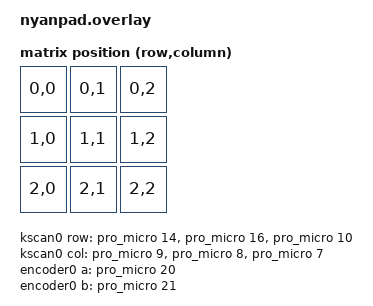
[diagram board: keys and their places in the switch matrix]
#include <behaviors.dtsi>
#include <dt-bindings/zmk/keys.h>
#include <dt-bindings/zmk/matrix_transform.h>
#include <physical_layouts.dtsi>

/ {
	kscan0: kscan {
		compatible = "zmk,kscan-gpio-matrix";
		diode-direction = "col2row";
		wakeup-source;

		col-gpios
			= <&pro_micro 9 GPIO_ACTIVE_HIGH>  /* D9/A9  -> P1.06 -> 106 */
            , <&pro_micro 8 GPIO_ACTIVE_HIGH>  /* D8/A8  -> P1.04 -> 104 */
            , <&pro_micro 7 GPIO_ACTIVE_HIGH>  /* D7     -> P0.11 -> 011 */
			;

		row-gpios
			= <&pro_micro 14 (GPIO_ACTIVE_HIGH | GPIO_PULL_DOWN)>  /* D14     -> P1.11 -> 111 */
            , <&pro_micro 16 (GPIO_ACTIVE_HIGH | GPIO_PULL_DOWN)>  /* D16     -> P0.10 -> 010 */
            , <&pro_micro 10 (GPIO_ACTIVE_HIGH | GPIO_PULL_DOWN)>  /* D10/A10 -> P0.09 -> 009 */
			;
	};

	default_transform: keymap_transform0 {
		compatible = "zmk,matrix-transform";
		columns = <3>;
		rows = <3>;
		map = <
			RC(0,0) RC(0,1) RC(0,2)
			RC(1,0) RC(1,1) RC(1,2)
			RC(2,0) RC(2,1) RC(2,2)
		>;
	};

	nyanpad_layout: nyanpad_layout {
		compatible = "zmk,physical-layout";
		display-name = "Nyanpad";
		kscan = <&kscan0>;
		transform = <&default_transform>;
		keys =
			<&key_physical_attrs 100 100 0 0 0 0 0>
			, <&key_physical_attrs 100 100 100 0 0 0 0>
			, <&key_physical_attrs 100 100 200 0 0 0 0>
			, <&key_physical_attrs 100 100 0 100 0 0 0>
			, <&key_physical_attrs 100 100 100 100 0 0 0>
			, <&key_physical_attrs 100 100 200 100 0 0 0>
			, <&key_physical_attrs 100 100 0 200 0 0 0>
			, <&key_physical_attrs 100 100 100 200 0 0 0>
			, <&key_physical_attrs 100 100 200 200 0 0 0>
			;
	};

	encoder0: encoder_0 {
		compatible = "alps,ec11";
		a-gpios = <&pro_micro 20 (GPIO_ACTIVE_HIGH | GPIO_PULL_UP)>; /* D20/A2 -> P0.29 -> 029 */
        b-gpios = <&pro_micro 21 (GPIO_ACTIVE_HIGH | GPIO_PULL_UP)>; /* D21/A3 -> P0.31 -> 031 */
		steps = <80>;
		status = "okay";
	};

	sensors {
		compatible = "zmk,keymap-sensors";
		sensors = <&encoder0>;
		triggers-per-rotation = <20>;
	};

	chosen {
		zmk,kscan = &kscan0;
		zmk,physical-layout = &nyanpad_layout;
	};
};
